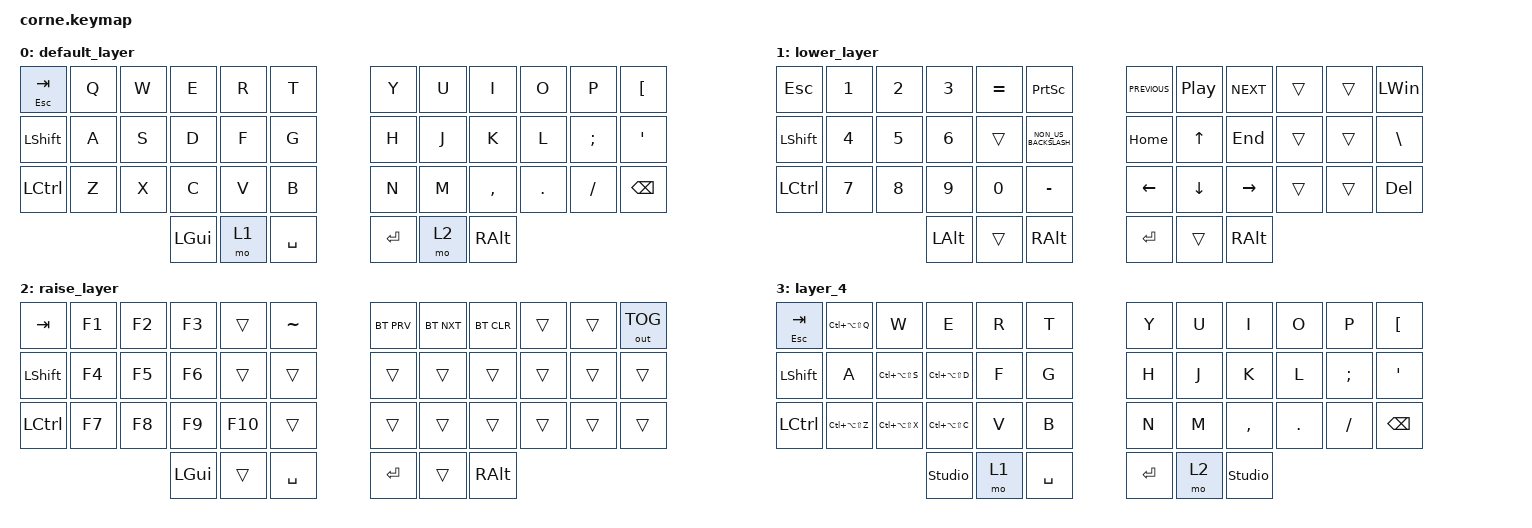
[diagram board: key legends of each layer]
/*
 * Copyright (c) 2020 The ZMK Contributors
 *
 * SPDX-License-Identifier: MIT
 */

#include <behaviors.dtsi>
#include <dt-bindings/zmk/bt.h>
#include <dt-bindings/zmk/keys.h>
#include <dt-bindings/zmk/outputs.h>

/ {
    behaviors {
        hml: homerow_mods_left {
            compatible = "zmk,behavior-hold-tap";
            label = "HOMEROW_MODS_LEFT_HAND";
            bindings = <&kp>, <&kp>;

            #binding-cells = <2>;
            tapping-term-ms = <150>;
            hold-trigger-key-positions = <6 7 8 9 10 6 7 8 9 10 11 18 19 20 21 22 23 30 31 32 33 34 35 39 40 41>;
        };

        hmr: homewrow_mods_right {
            compatible = "zmk,behavior-hold-tap";
            label = "HOMEROW_MODS_RIGHT_HAND";
            bindings = <&kp>, <&kp>;

            #binding-cells = <2>;
            tapping-term-ms = <200>;
            hold-trigger-key-positions = <0 1 2 3 4 5 12 13 14 15 16 17 24 25 26 27 28 29 36 37 38>;
        };

        tap_7: tap_7 {
            compatible = "zmk,behavior-tap-dance";
            label = "TAP_7";
            #binding-cells = <0>;
            bindings = <&kp N7>, <&kp RA(N7)>;

            tapping-term-ms = <180>;
        };

        tap_0: tap_0 {
            compatible = "zmk,behavior-tap-dance";
            label = "TAP_0";
            #binding-cells = <0>;
            bindings = <&kp N0>, <&kp RA(N0)>;
        };
    };

    keymap {
        compatible = "zmk,keymap";

        default_layer {
            // -----------------------------------------------------------------------------------------
            // |  TAB |  Q  |  W  |  E  |  R  |  T  |   |  Y  |  U   |  I  |  O  |  P  | BKSP |
            // | CTRL |  A  |  S  |  D  |  F  |  G  |   |  H  |  J   |  K  |  L  |  ;  |  '   |
            // | SHFT |  Z  |  X  |  C  |  V  |  B  |   |  N  |  M   |  ,  |  .  |  /  | ESC  |
            //                    | GUI | LWR | SPC |   | ENT | RSE  | ALT |

            bindings = <
&hml ESC TAB      &kp Q  &kp W  &kp E         &kp R  &kp T        &kp Y    &kp U  &kp I      &kp O    &kp P      &kp LEFT_BRACKET
&kp LSHIFT        &kp A  &kp S  &kp D         &kp F  &kp G        &kp H    &kp J  &kp K      &kp L    &kp SEMI   &kp SQT
&kp LEFT_CONTROL  &kp Z  &kp X  &kp C         &kp V  &kp B        &kp N    &kp M  &kp COMMA  &kp DOT  &kp SLASH  &kp BACKSPACE
                                &kp LEFT_GUI  &mo 1  &kp SPACE    &kp RET  &mo 2  &kp RALT
            >;
        };

        lower_layer {
            // -----------------------------------------------------------------------------------------
            // |  TAB |  1  |  2  |  3  |  4  |  5  |   |  6  |  7  |  8  |  9  |  0  | BKSP |
            // | BTCLR| BT1 | BT2 | BT3 | BT4 | BT5 |   | LFT | DWN |  UP | RGT |     |      |
            // | SHFT |     |     |     |     |     |   |     |     |     |     |     |      |
            //                    | GUI |     | SPC |   | ENT |     | ALT |

            bindings = <
&kp ESC    &kp N1        &kp N2        &kp N3        &kp EQUAL  &kp PRINTSCREEN         &kp C_PREVIOUS  &kp C_PLAY_PAUSE  &kp C_NEXT  &trans  &trans  &kp LEFT_WIN
&kp LSHFT  &kp NUMBER_4  &kp N5        &kp NUMBER_6  &trans     &kp NON_US_BACKSLASH    &kp HOME        &kp UP_ARROW      &kp END     &trans  &trans  &kp BACKSLASH
&kp LCTRL  &kp N7        &kp NUMBER_8  &kp N9        &kp N0     &kp MINUS               &kp LEFT        &kp DOWN          &kp RIGHT   &trans  &trans  &kp DELETE
                                       &kp LEFT_ALT  &trans     &kp RIGHT_ALT           &kp RET         &trans            &kp RALT
            >;
        };

        raise_layer {
            // -----------------------------------------------------------------------------------------
            // |  TAB |  !  |  @  |  #  |  $  |  %  |   |  ^  |  &  |  *  |  (  |  )  | BKSP |
            // | CTRL |     |     |     |     |     |   |  -  |  =  |  [  |  ]  |  \  |  `   |
            // | SHFT |     |     |     |     |     |   |  _  |  +  |  {  |  }  | "|" |  ~   |
            //                    | GUI |     | SPC |   | ENT |     | ALT |

            bindings = <
&kp TAB         &kp F1  &kp F2  &kp F3    &trans   &kp TILDE    &bt BT_PRV  &bt BT_NXT  &bt BT_CLR  &trans  &trans  &out OUT_TOG
&kp LEFT_SHIFT  &kp F4  &kp F5  &kp F6    &trans   &trans       &trans      &trans      &trans      &trans  &trans  &trans
&kp LCTRL       &kp F7  &kp F8  &kp F9    &kp F10  &trans       &trans      &trans      &trans      &trans  &trans  &trans
                                &kp LGUI  &trans   &kp SPACE    &kp RET     &trans      &kp RALT
            >;
        };

        layer_4 {
            bindings = <
&hml ESC TAB      &kp LC(LA(LS(Q)))  &kp W              &kp E              &kp R  &kp T        &kp Y    &kp U  &kp I           &kp O    &kp P      &kp LEFT_BRACKET
&kp LSHIFT        &kp A              &kp LC(LA(LS(S)))  &kp LC(LA(LS(D)))  &kp F  &kp G        &kp H    &kp J  &kp K           &kp L    &kp SEMI   &kp SQT
&kp LEFT_CONTROL  &kp LC(LA(LS(Z)))  &kp LC(LA(LS(X)))  &kp LC(LA(LS(C)))  &kp V  &kp B        &kp N    &kp M  &kp COMMA       &kp DOT  &kp SLASH  &kp BACKSPACE
                                                        &studio_unlock     &mo 1  &kp SPACE    &kp RET  &mo 2  &studio_unlock
            >;
        };
    };

    conditional_layers {
        compatible = "zmk,conditional-layers";

        combo_layer {
            if-layers = <1 2>;
            then-layer = <3>;
        };
    };
};
